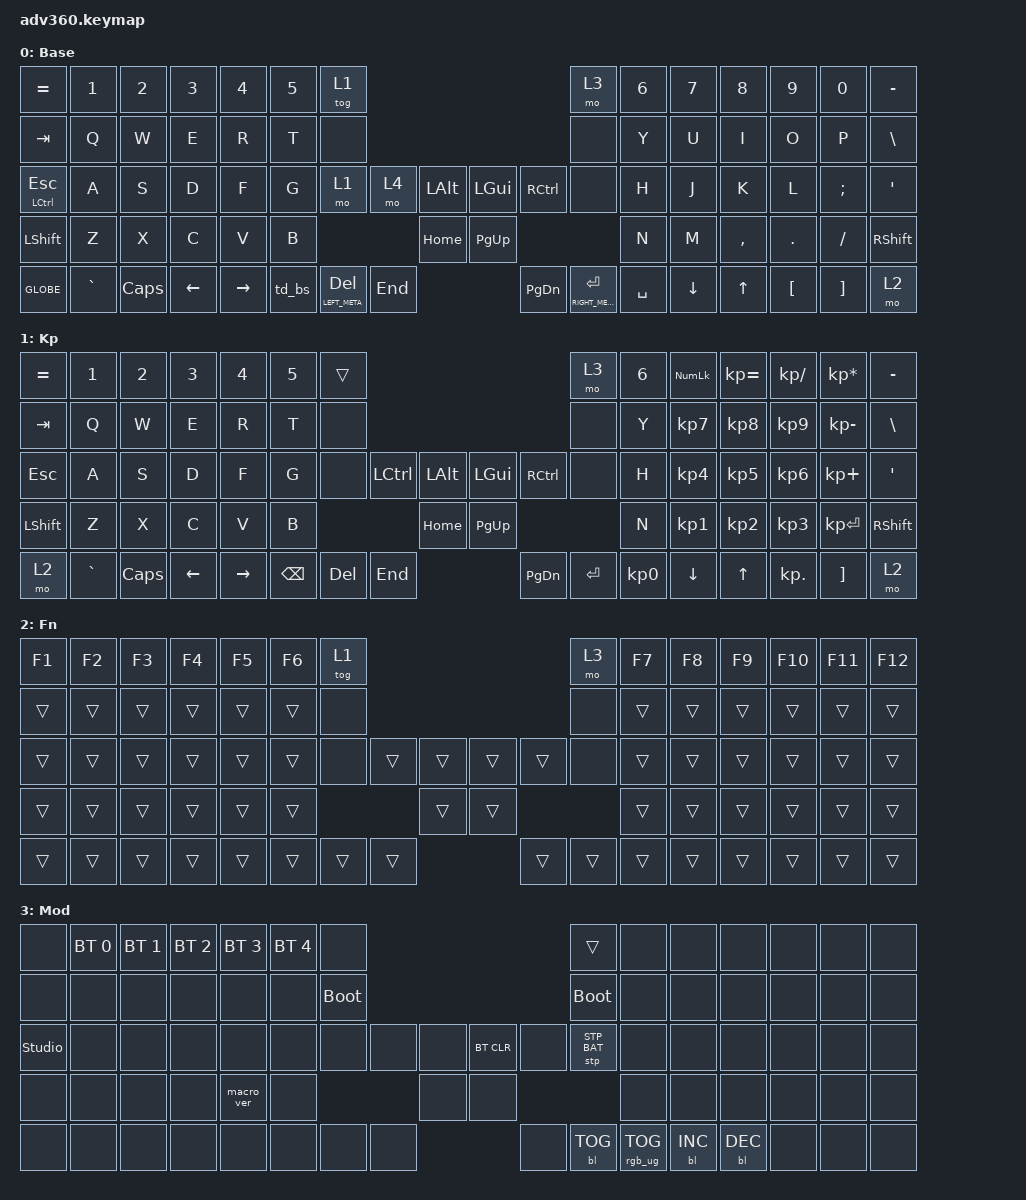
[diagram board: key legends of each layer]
/*
 * Copyright (c) 2020 The ZMK Contributors
 *
 * SPDX-License-Identifier: MIT
 */
/* THIS FILE WAS GENERATED!
 *
 * This file was generated automatically. You may or may not want to
 * edit it directly.
 */

#include <behaviors.dtsi>
#include <dt-bindings/zmk/backlight.h>
#include <dt-bindings/zmk/bt.h>
#include <dt-bindings/zmk/keys.h>
#include <dt-bindings/zmk/rgb.h>
#include <dt-bindings/zmk/stp.h>
#include <dt-bindings/zmk/pointing.h>

&mt {
    tapping-term-ms = <210>;
    flavor = "tap-preferred";
};

/ {
    behaviors {
      #include "version.dtsi"
      #include "macros.dtsi"

      hm: homerow_mods {
          compatible = "zmk,behavior-hold-tap";
          label = "HOMEROW_MODS";
          #binding-cells = <2>;
          tapping-term-ms = <200>;
          quick_tap_ms = <175>;
          flavor = "tap-preferred";
          bindings = <&kp>, <&kp>;
      };

      td_bs: tap_dance_mod_tap_backspace {
          compatible = "zmk,behavior-tap-dance";
          label = "TAP_DANCE_BSPC";
          #binding-cells = <0>;
          tapping-term-ms = <150>;
          bindings = <&mt LEFT_CONTROL BACKSPACE>, <&kp BACKSPACE>;
      };

      gqt: global-quick-tap {
            compatible = "zmk,behavior-hold-tap";
            label = "GLOBAL_QUICK_TAP";
            #binding-cells = <2>;
            flavor = "tap-preferred";
            tapping-term-ms = <150>;
            quick-tap-ms = <100>;
            global-quick-tap;
            bindings = <&kp>, <&kp>;
        };
    };

  keymap {
    compatible = "zmk,keymap";

    default_layer {
      display-name = "Base";
      bindings = <
        &kp EQUAL         &kp N1    &kp N2   &kp N3   &kp N4     &kp N5 &tog 1                                                                                             &mo 3 &kp N6 &kp N7 &kp N8    &kp N9   &kp N0   &kp MINUS
        &kp TAB           &kp Q     &kp W    &kp E    &kp R      &kp T  &none                                                                                              &none &kp Y  &kp U  &kp I     &kp O    &kp P    &kp BSLH
        &mt LCTRL ESCAPE  &kp A     &kp S    &kp D    &kp F      &kp G  &mo 1                      &mo 4                &kp LALT  &kp LGUI  &kp RCTRL                      &none &kp H  &kp J  &kp K     &kp L    &kp SEMI &kp SQT
        &kp LSHFT         &kp Z     &kp X    &kp C    &kp V      &kp B                                                  &kp HOME  &kp PG_UP                                      &kp N  &kp M  &kp COMMA &kp DOT  &kp FSLH &kp RSHFT
        &kp GLOBE         &kp GRAVE &kp CAPS &kp LEFT &kp RIGHT                &td_bs              &mt LEFT_META DELETE &kp END   &kp PG_DN &mt RIGHT_META ENTER &kp SPACE              &kp DOWN &kp UP  &kp LBKT &kp RBKT &mo 2
      >;
    };
    keypad {
      display-name = "Kp";
      bindings = <
        &kp EQUAL &kp N1    &kp N2   &kp N3   &kp N4     &kp N5 &trans                                                           &mo 3 &kp N6 &kp KP_NUM &kp KP_EQUAL &kp KP_DIVIDE &kp KP_MULTIPLY &kp MINUS
        &kp TAB   &kp Q     &kp W    &kp E    &kp R      &kp T  &none                                                            &none &kp Y  &kp KP_N7  &kp KP_N8    &kp KP_N9     &kp KP_MINUS    &kp BSLH
        &kp ESC   &kp A     &kp S    &kp D    &kp F      &kp G  &none           &kp LCTRL &kp LALT &kp LGUI  &kp RCTRL           &none &kp H  &kp KP_N4  &kp KP_N5    &kp KP_N6     &kp KP_PLUS     &kp SQT
        &kp LSHFT &kp Z     &kp X    &kp C    &kp V      &kp B                            &kp HOME &kp PG_UP                           &kp N  &kp KP_N1  &kp KP_N2    &kp KP_N3     &kp KP_ENTER    &kp RSHFT
        &mo 2     &kp GRAVE &kp CAPS &kp LEFT &kp RIGHT                &kp BSPC &kp DEL   &kp END  &kp PG_DN &kp ENTER &kp KP_N0              &kp DOWN   &kp UP     &kp KP_DOT    &kp RBKT        &mo 2
      >;
    };
    fn {
      display-name = "Fn";
      bindings = <
        &kp F1 &kp F2 &kp F3 &kp F4 &kp F5 &kp F6 &tog 1                                           &mo 3 &kp F7 &kp F8 &kp F9 &kp F10 &kp F11 &kp F12
        &trans &trans &trans &trans &trans &trans  &none                                           &none &trans &trans &trans &trans  &trans  &trans
        &trans &trans &trans &trans &trans &trans  &none        &trans &trans &trans &trans        &none &trans &trans &trans &trans  &trans  &trans
        &trans &trans &trans &trans &trans &trans                      &trans &trans                     &trans &trans &trans &trans  &trans  &trans
        &trans &trans &trans &trans &trans               &trans &trans &trans &trans &trans &trans              &trans &trans &trans  &trans  &trans
      >;
    };
    mod {
      display-name = "Mod";
      bindings = <
        &none &bt BT_SEL 0 &bt BT_SEL 1 &bt BT_SEL 2 &bt BT_SEL 3 &bt BT_SEL 4 &none                                                                     &trans                 &none        &none        &none        &none &none &none
        &none &none        &none        &none        &none        &none        &bootloader                                                               &bootloader            &none        &none        &none        &none &none &none
        &studio_unlock &none        &none        &none        &none        &none        &none                   &none &none &bt BT_CLR &none                      &stp STP_BAT &none        &none        &none        &none &none &none
        &none &none        &none        &none        &macro_ver   &none                                      &none &none                                                        &none        &none        &none        &none &none &none
        &none &none        &none        &none        &none                                       &none &none &none &none      &bl BL_TOG &rgb_ug RGB_TOG                                     &bl BL_INC   &bl BL_DEC   &none &none &none
      >;
    };
    extra1 {
      display-name = "Red";
      status = "reserved";
    };

    extra2 {
      display-name = "Purple";
      status = "reserved";
    };

    extra3 {
      display-name = "Cyan";
      status = "reserved";
    };

    extra4 {
      display-name = "Yellow";
      status = "reserved";
    };
  };
};
